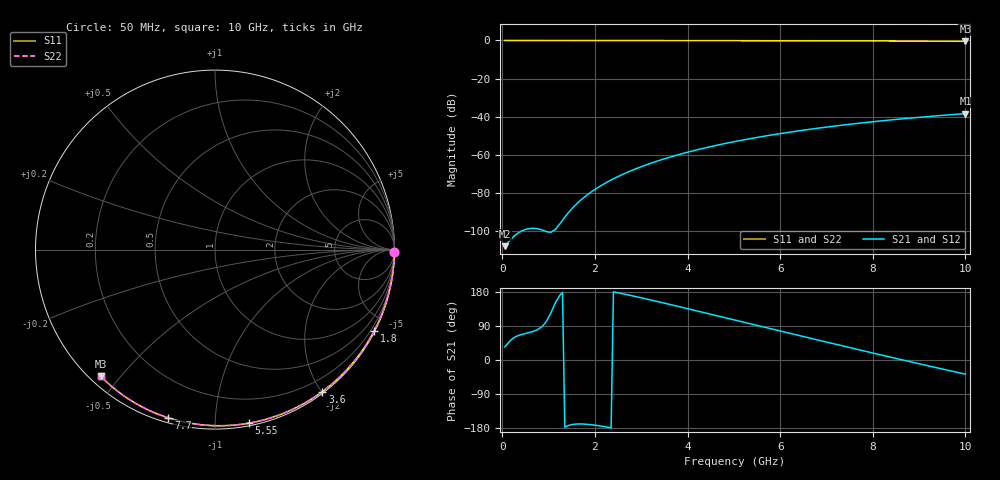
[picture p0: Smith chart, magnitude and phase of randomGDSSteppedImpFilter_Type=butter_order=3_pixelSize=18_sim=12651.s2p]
! freq	dB(S11)	phase(S11)	dB(S12)	phase(S12)
!  dB(S21)	phase(S21)	dB(S22)	phase(S22)
!S-par simulation data
#  GHz  S  DB  R 50
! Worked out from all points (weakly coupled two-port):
!   200 points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, 50 MHz to 10 GHz, reference 50 ohm
!   highest |S21| = -38.44 dB at 10 GHz (marker M1); lowest = -108.1 dB at 50 MHz (marker M2)
!   lowest |S11| = -0.4 dB at 10 GHz (marker M3), VSWR 39.10, Z = 1.53 - j22.2 ohm
!   |S11| at or under -10 dB: nowhere
!   |S22| runs from -0.4 to 0.0 dB; largest |S21 - S12| = 0
!   S11 on the Smith chart (normalised r, x): 50 MHz: open; 1.8 GHz: 0.04, -4.16; 3.6 GHz: 0.02, -2.01; 5.55 GHz: 0.02, -1.21; 7.7 GHz: 0.02, -0.76; 10 GHz: 0.03, -0.44
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0.05  -0.00 -0.8  -108.10 34.8  -108.10 34.8  -0.00 -0.8
0.9  -0.02 -13.6  -99.97 93.9  -99.97 93.9  -0.02 -13.6
1.75  -0.03 -26.3  -82.75 -169.0  -82.75 -169.0  -0.03 -26.3
1.8  -0.03 -27.0  -81.77 -169.4  -81.77 -169.4  -0.03 -27.0
1.9  -0.04 -28.5  -79.96 -170.5  -79.96 -170.5  -0.04 -28.5
2.05  -0.04 -30.7  -77.50 -172.8  -77.50 -172.8  -0.04 -30.7
2.25  -0.04 -33.6  -74.62 -176.9  -74.62 -176.9  -0.04 -33.6
2.45  -0.05 -36.5  -72.08 178.5  -72.08 178.5  -0.05 -36.5
2.65  -0.05 -39.4  -69.81 173.5  -69.81 173.5  -0.05 -39.4
3  -0.06 -44.4  -66.34 164.2  -66.34 164.2  -0.06 -44.4
3.4  -0.07 -50.1  -62.96 152.9  -62.96 152.9  -0.07 -50.1
3.6  -0.07 -52.9  -61.45 147.2  -61.45 147.2  -0.07 -52.9
3.9  -0.08 -57.0  -59.38 138.4  -59.38 138.4  -0.08 -57.0
4.3  -0.09 -62.5  -56.91 126.6  -56.91 126.6  -0.09 -62.5
5.05  -0.11 -72.5  -52.98 104.5  -52.98 104.5  -0.11 -72.5
5.55  -0.13 -79.0  -50.75 89.7  -50.75 89.7  -0.13 -79.0
6.1  -0.15 -86.0  -48.58 73.6  -48.58 73.6  -0.15 -86.0
6.7  -0.18 -93.4  -46.48 56.0  -46.48 56.0  -0.18 -93.4
7.7  -0.24 -105.5  -43.50 27.1  -43.50 27.1  -0.24 -105.5
8.35  -0.29 -113.1  -41.84 8.5  -41.84 8.5  -0.29 -113.1
9.15  -0.36 -122.4  -40.07 -14.1  -40.07 -14.1  -0.36 -122.4
10  -0.44 -132.1  -38.44 -37.4  -38.44 -37.4  -0.44 -132.1
